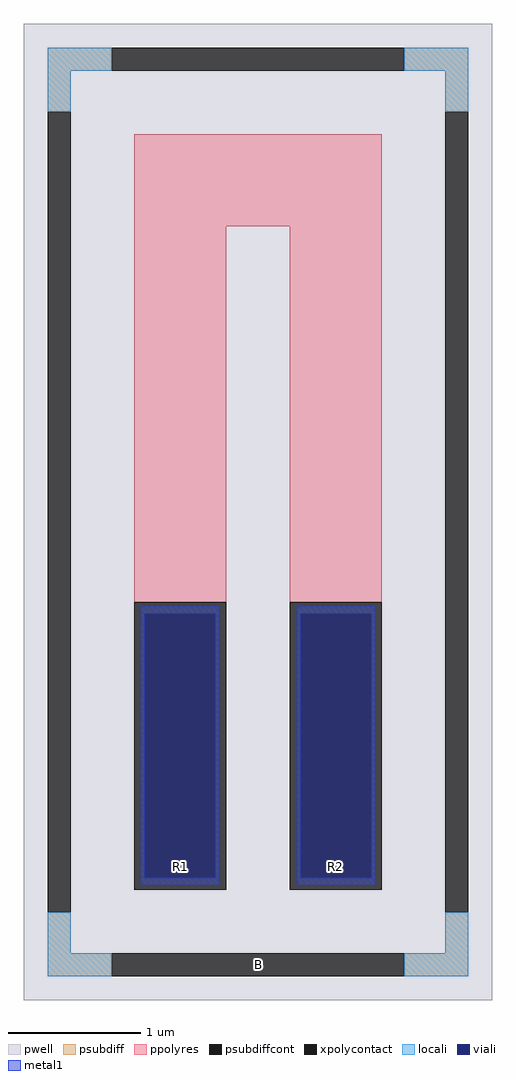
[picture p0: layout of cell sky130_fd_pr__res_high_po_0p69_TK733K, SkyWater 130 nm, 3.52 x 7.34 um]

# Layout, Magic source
magic
tech sky130A
magscale 1 2
<< pwell >>
rect -352 -734 352 734
<< psubdiff >>
rect -316 664 -220 698
rect 220 664 316 698
rect -316 602 -282 664
rect 282 602 316 664
rect -316 -664 -282 -602
rect 282 -664 316 -602
rect -316 -698 -220 -664
rect 220 -698 316 -664
<< psubdiffcont >>
rect -220 664 220 698
rect -316 -602 -282 602
rect 282 -602 316 602
rect -220 -698 220 -664
<< xpolycontact >>
rect -186 -568 -48 -136
rect 48 -568 186 -136
<< ppolyres >>
rect -186 430 186 568
rect -186 -136 -48 430
rect 48 -136 186 430
<< locali >>
rect -316 664 -220 698
rect 220 664 316 698
rect -316 602 -282 664
rect 282 602 316 664
rect -316 -664 -282 -602
rect 282 -664 316 -602
rect -316 -698 -220 -664
rect 220 -698 316 -664
<< viali >>
rect -170 -550 -64 -153
rect 64 -550 170 -153
<< metal1 >>
rect -176 -153 -58 -141
rect -176 -550 -170 -153
rect -64 -550 -58 -153
rect -176 -562 -58 -550
rect 58 -153 176 -141
rect 58 -550 64 -153
rect 170 -550 176 -153
rect 58 -562 176 -550
<< labels >>
rlabel psubdiffcont 0 -681 0 -681 0 B
port 1 nsew
rlabel xpolycontact -117 -533 -117 -533 0 R1
port 2 nsew
rlabel xpolycontact 117 -533 117 -533 0 R2
port 3 nsew
<< properties >>
string FIXED_BBOX -299 -681 299 681
string gencell sky130_fd_pr__res_high_po_0p69
string library sky130
string parameters w 0.69 l 3.0 m 1 nx 2 wmin 0.690 lmin 0.50 class resistor rho 319.8 val 3.665k dummy 0 dw 0.0 term 194.82 sterm 0.0 caplen 0 guard 1 glc 1 grc 1 gtc 1 gbc 1 compatible {sky130_fd_pr__res_high_po_0p35  sky130_fd_pr__res_high_po_0p69 sky130_fd_pr__res_high_po_1p41  sky130_fd_pr__res_high_po_2p85 sky130_fd_pr__res_high_po_5p73} snake 1 full_metal 1 wmax 0.690 n_guard 0 hv_guard 0 vias 1 viagb 0 viagt 0 viagl 0 viagr 0 doports 1
<< end >>
